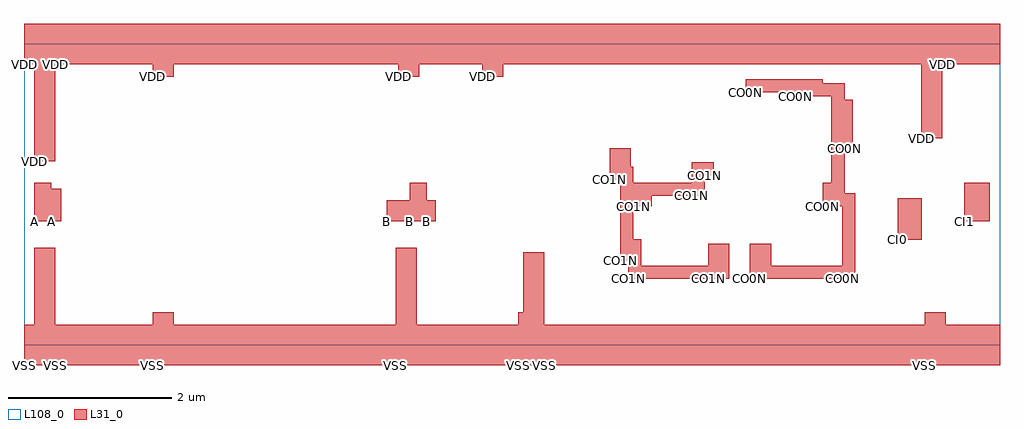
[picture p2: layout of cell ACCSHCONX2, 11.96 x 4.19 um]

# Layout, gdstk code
import gdstk
lib = gdstk.Library(unit=1e-6, precision=1e-09)
def R(c, l, rs):  # rectangles x0, y0, x1, y1
    for r in rs: c.add(gdstk.rectangle(r[:2], r[2:], *l))
L31_0 = (31, 0)
L108_0 = (108, 0)

accshconx2 = lib.new_cell('ACCSHCONX2')
R(accshconx2, L31_0, [(0,-0.25,0.125,0.25), (0.125,-0.25,0.385,1.195), (0.385,-0.25,1.575,0.25), (1.575,-0.25,1.835,0.405), (1.835,-0.25,4.555,0.25), (4.555,-0.25,4.815,1.195), (4.815,-0.25,6.055,0.25), (6.055,-0.25,6.115,0.405), (6.115,-0.25,6.375,1.135), (6.375,-0.25,11.035,0.25), (11.035,-0.25,11.295,0.405), (11.295,-0.25,11.96,0.25), (7.405,0.81,7.435,2.41), (7.435,0.81,7.465,2.185), (7.465,0.81,7.565,1.295), (7.565,0.81,8.385,0.97), (8.385,0.81,8.645,1.24), (8.895,0.81,9.155,1.24), (9.155,0.81,10.025,0.97), (10.025,0.81,10.055,3.21), (10.055,0.81,10.185,1.86), (7.305,1.035,7.405,2.41), (10.705,1.29,11,1.8), (0.125,1.515,0.335,1.99), (0.335,1.515,0.455,1.915), (4.445,1.515,4.725,1.775), (4.725,1.515,4.935,1.99), (4.935,1.515,5.045,1.775), (11.52,1.515,11.835,1.99), (7.465,1.7,7.695,1.99), (9.785,1.7,9.895,1.99), (9.895,1.7,10.025,3.21), (7.695,1.83,8.185,1.99), (8.185,1.83,8.345,2.24), (7.175,2.025,7.305,2.41), (8.345,2.08,8.455,2.24), (0.125,2.25,0.385,3.94), (10.055,2.405,10.155,3.005), (10.995,2.535,11.255,3.94), (9.45,3.05,9.785,3.26), (9.785,3.05,9.895,3.21), (8.845,3.1,9.45,3.26), (1.575,3.285,1.835,3.94), (4.585,3.285,4.845,3.94), (5.615,3.285,5.875,3.94), (0,3.44,0.125,3.94), (0.385,3.44,1.575,3.94), (1.835,3.44,4.585,3.94), (4.845,3.44,5.615,3.94), (5.875,3.44,10.995,3.94), (11.255,3.44,11.96,3.94)])
R(accshconx2, L108_0, [(0,0,11.96,3.69)])
accshconx2.add(gdstk.Label('CO1N', (7.175,2.025), layer=131, texttype=0))
accshconx2.add(gdstk.Label('CO1N', (7.305,1.035), layer=131, texttype=0))
accshconx2.add(gdstk.Label('CO1N', (7.405,0.81), layer=131, texttype=0))
accshconx2.add(gdstk.Label('CO1N', (7.435,0.81), layer=131, texttype=0))
accshconx2.add(gdstk.Label('CO1N', (7.465,0.81), layer=131, texttype=0))
accshconx2.add(gdstk.Label('CO1N', (7.465,1.7), layer=131, texttype=0))
accshconx2.add(gdstk.Label('CO1N', (7.695,1.83), layer=131, texttype=0))
accshconx2.add(gdstk.Label('CO1N', (8.185,1.83), layer=131, texttype=0))
accshconx2.add(gdstk.Label('CO1N', (7.565,0.81), layer=131, texttype=0))
accshconx2.add(gdstk.Label('CO1N', (8.345,2.08), layer=131, texttype=0))
accshconx2.add(gdstk.Label('CO1N', (8.385,0.81), layer=131, texttype=0))
accshconx2.add(gdstk.Label('CO0N', (8.895,0.81), layer=131, texttype=0))
accshconx2.add(gdstk.Label('CO0N', (8.845,3.1), layer=131, texttype=0))
accshconx2.add(gdstk.Label('CO0N', (9.45,3.05), layer=131, texttype=0))
accshconx2.add(gdstk.Label('CO0N', (9.785,3.05), layer=131, texttype=0))
accshconx2.add(gdstk.Label('CO0N', (9.785,1.7), layer=131, texttype=0))
accshconx2.add(gdstk.Label('CO0N', (9.895,1.7), layer=131, texttype=0))
accshconx2.add(gdstk.Label('CO0N', (9.155,0.81), layer=131, texttype=0))
accshconx2.add(gdstk.Label('CO0N', (10.025,0.81), layer=131, texttype=0))
accshconx2.add(gdstk.Label('CO0N', (10.055,2.405), layer=131, texttype=0))
accshconx2.add(gdstk.Label('CO0N', (10.055,0.81), layer=131, texttype=0))
accshconx2.add(gdstk.Label('CI1', (11.52,1.515), layer=131, texttype=0))
accshconx2.add(gdstk.Label('CI0', (10.705,1.29), layer=131, texttype=0))
accshconx2.add(gdstk.Label('B', (4.445,1.515), layer=131, texttype=0))
accshconx2.add(gdstk.Label('B', (4.725,1.515), layer=131, texttype=0))
accshconx2.add(gdstk.Label('B', (4.935,1.515), layer=131, texttype=0))
accshconx2.add(gdstk.Label('A', (0.125,1.515), layer=131, texttype=0))
accshconx2.add(gdstk.Label('A', (0.335,1.515), layer=131, texttype=0))
accshconx2.add(gdstk.Label('VSS', (0,-0.25), layer=131, texttype=0))
accshconx2.add(gdstk.Label('VSS', (0.125,-0.25), layer=131, texttype=0))
accshconx2.add(gdstk.Label('VSS', (0.385,-0.25), layer=131, texttype=0))
accshconx2.add(gdstk.Label('VSS', (1.575,-0.25), layer=131, texttype=0))
accshconx2.add(gdstk.Label('VSS', (1.835,-0.25), layer=131, texttype=0))
accshconx2.add(gdstk.Label('VSS', (4.555,-0.25), layer=131, texttype=0))
accshconx2.add(gdstk.Label('VSS', (4.815,-0.25), layer=131, texttype=0))
accshconx2.add(gdstk.Label('VSS', (6.055,-0.25), layer=131, texttype=0))
accshconx2.add(gdstk.Label('VSS', (6.115,-0.25), layer=131, texttype=0))
accshconx2.add(gdstk.Label('VSS', (6.375,-0.25), layer=131, texttype=0))
accshconx2.add(gdstk.Label('VSS', (11.035,-0.25), layer=131, texttype=0))
accshconx2.add(gdstk.Label('VSS', (11.295,-0.25), layer=131, texttype=0))
accshconx2.add(gdstk.Label('VDD', (0,3.44), layer=131, texttype=0))
accshconx2.add(gdstk.Label('VDD', (0.125,2.25), layer=131, texttype=0))
accshconx2.add(gdstk.Label('VDD', (0.385,3.44), layer=131, texttype=0))
accshconx2.add(gdstk.Label('VDD', (1.575,3.285), layer=131, texttype=0))
accshconx2.add(gdstk.Label('VDD', (1.835,3.44), layer=131, texttype=0))
accshconx2.add(gdstk.Label('VDD', (4.585,3.285), layer=131, texttype=0))
accshconx2.add(gdstk.Label('VDD', (4.845,3.44), layer=131, texttype=0))
accshconx2.add(gdstk.Label('VDD', (5.615,3.285), layer=131, texttype=0))
accshconx2.add(gdstk.Label('VDD', (5.875,3.44), layer=131, texttype=0))
accshconx2.add(gdstk.Label('VDD', (10.995,2.535), layer=131, texttype=0))
accshconx2.add(gdstk.Label('VDD', (11.255,3.44), layer=131, texttype=0))

lib.write_gds('ACCSHCONX2.gds')
